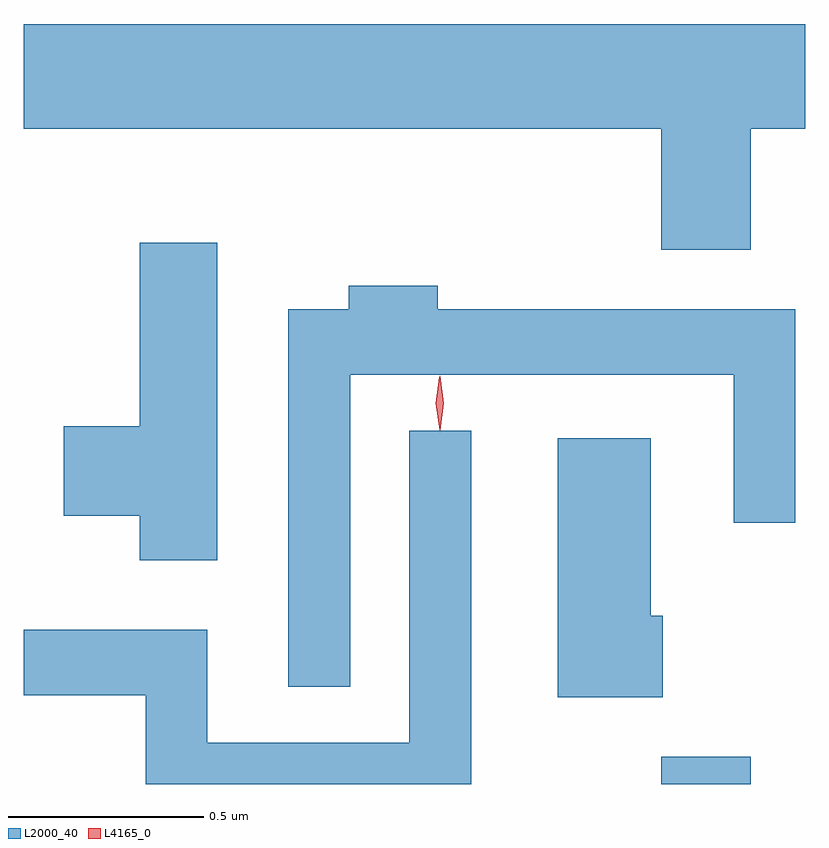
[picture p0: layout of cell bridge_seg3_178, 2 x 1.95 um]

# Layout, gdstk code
import gdstk
lib = gdstk.Library(unit=1e-6, precision=1e-09)
def R(c, l, rs):  # rectangles x0, y0, x1, y1
    for r in rs: c.add(gdstk.rectangle(r[:2], r[2:], *l))
def P(c, l, *ps):  # polygons
    for p in ps: c.add(gdstk.Polygon(p, *l))
L2000_40 = (2000, 40)
L4165_0 = (4165, 0)

bridge_seg3_178 = lib.new_cell('bridge_seg3_178')
R(bridge_seg3_178, L2000_40, [(892.251,1248.659,892.479,1248.729)])
P(bridge_seg3_178, L2000_40, [(892.479,1250.336),(892.619,1250.336),(892.619,1250.604),(890.619,1250.604),(890.619,1250.336),(892.251,1250.336),(892.251,1250.026),(892.479,1250.026)],
  [(891.114,1250.044),(890.916,1250.044),(890.916,1249.574),(890.721,1249.574),(890.721,1249.346),(890.916,1249.346),(890.916,1249.231),(891.114,1249.231)],
  [(891.454,1249.706),(892.436,1249.706),(892.436,1249.328),(892.594,1249.328),(892.594,1249.874),(891.679,1249.874),(891.679,1249.934),(891.451,1249.934),(891.451,1249.874),(891.296,1249.874),(891.296,1248.908),(891.454,1248.908)],
  [(891.764,1249.563),(891.606,1249.563),(891.606,1248.764),(891.089,1248.764),(891.089,1249.054),(890.619,1249.054),(890.619,1248.886),(890.931,1248.886),(890.931,1248.659),(891.764,1248.659)],
  [(892.254,1249.089),(892.224,1249.089),(892.224,1249.544),(891.986,1249.544),(891.986,1248.881),(892.254,1248.881)])
P(bridge_seg3_178, L4165_0, [(891.683,1249.567),(891.683,1249.568),(891.673,1249.634),(891.682,1249.7),(891.683,1249.7),(891.683,1249.7),(891.693,1249.634),(891.684,1249.568)],
  [(891.684,1249.564),(891.684,1249.564),(891.674,1249.633),(891.684,1249.703),(891.684,1249.703),(891.685,1249.703),(891.694,1249.633),(891.685,1249.564)])

lib.write_gds('bridge_seg3_178.gds')
